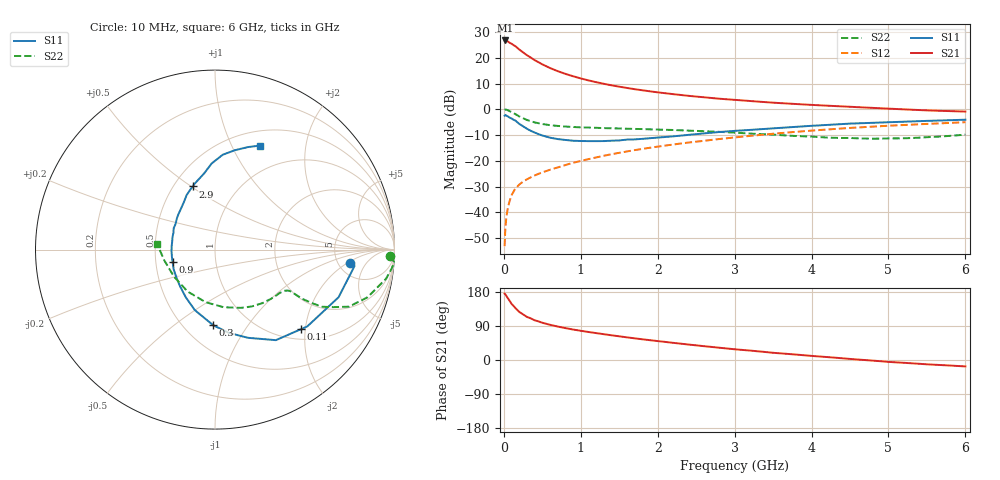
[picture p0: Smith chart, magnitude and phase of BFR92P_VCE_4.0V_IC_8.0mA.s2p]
! Infineon Technologies  Discrete & RF Semiconductors
! BFR92P
! VCE =  4.0 V,  IC =  8.0 mA
! Common Emitter S-Parameters:  Apr 2014
# GHz  S  MA  R  50
!  f  S11  S21  S12  S22
! GHz  MAG  ANG  MAG  ANG  MAG  ANG  MAG  ANG
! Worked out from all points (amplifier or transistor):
!   77 points, 10 MHz to 6 GHz, reference 50 ohm
!   highest |S21| = 26.8 dB at 20 MHz (marker M1)
!   |S21| within 3 dB of that: start of sweep to 180.2 MHz
!   unconditionally stable (mu >= 1): 814.2 MHz to 2.557 GHz
!   at 130 MHz: K = 0.33, MSG = 28.3 dB, |S12| = -31.7 dB
!   at 2.2 GHz: K = 1.03, MAG = 8.8 dB, |S12| = -13.6 dB
!   at 6 GHz: K = 0.87, MSG = 2.1 dB, |S12| = -5.0 dB
!   S11 on the Smith chart (normalised r, x): 10 MHz: 6.41, -2.25; 110 MHz: 1.23, -1.89; 300 MHz: 0.69, -0.70; 900 MHz: 0.61, -0.09; 2.9 GHz: 0.62, +0.51; 6 GHz: 0.67, +1.29
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0.01  0.7567 -5.7  21.49 175.0  0.0022 87.7  0.9783 -2.1
0.02  0.7829 -6.7  21.91 173.1  0.005 85.3  1 -4.0
0.05  0.7379 -21.1  21.11 163.5  0.0117 78.0  0.9666 -9.7
0.1  0.6689 -39.8  18.91 148.2  0.0214 71.1  0.8893 -17.4
0.11  0.6527 -42.8  18.46 146.2  0.0229 70.1  0.8729 -18.5
0.15  0.6079 -56.1  16.94 137.1  0.029 67.1  0.8106 -23.1
0.2  0.5246 -69.5  14.64 127.0  0.0346 63.7  0.7315 -26.0
0.25  0.4706 -80.5  12.85 120.3  0.0396 62.4  0.6757 -28.1
0.3  0.4217 -91.3  11.34 113.8  0.0438 60.7  0.6239 -28.8
0.4  0.3556 -108.4  9.087 104.9  0.0521 61.2  0.5595 -29.4
0.5  0.3116 -121.5  7.517 98.3  0.0597 61.4  0.5212 -29.2
0.6  0.2827 -133.4  6.383 92.9  0.0673 62.7  0.4949 -29.0
0.7  0.2655 -144.1  5.551 88.3  0.0746 63.5  0.4782 -28.9
0.9  0.2463 -163.3  4.418 80.4  0.0919 64.1  0.456 -30.1
1.1  0.2422 -177.8  3.668 73.9  0.1082 64.7  0.4445 -31.7
1.5  0.2497 158.1  2.769 62.5  0.1435 64.0  0.4271 -36.8
2.1  0.2913 132.0  2.064 47.7  0.1986 60.4  0.4022 -46.5
2.9  0.3732 109.5  1.575 30.4  0.2756 53.6  0.3602 -63.6
3.1  0.3913 105.4  1.497 26.6  0.2955 51.3  0.3467 -69.1
4.1  0.4898 90.7  1.204 9.3  0.3972 40.3  0.2901 -104.6
5.1  0.5706 77.4  1.02 -6.2  0.49 27.0  0.2737 -151.2
6  0.6319 66.6  0.909 -16.9  0.5654 14.8  0.3243 174.3
